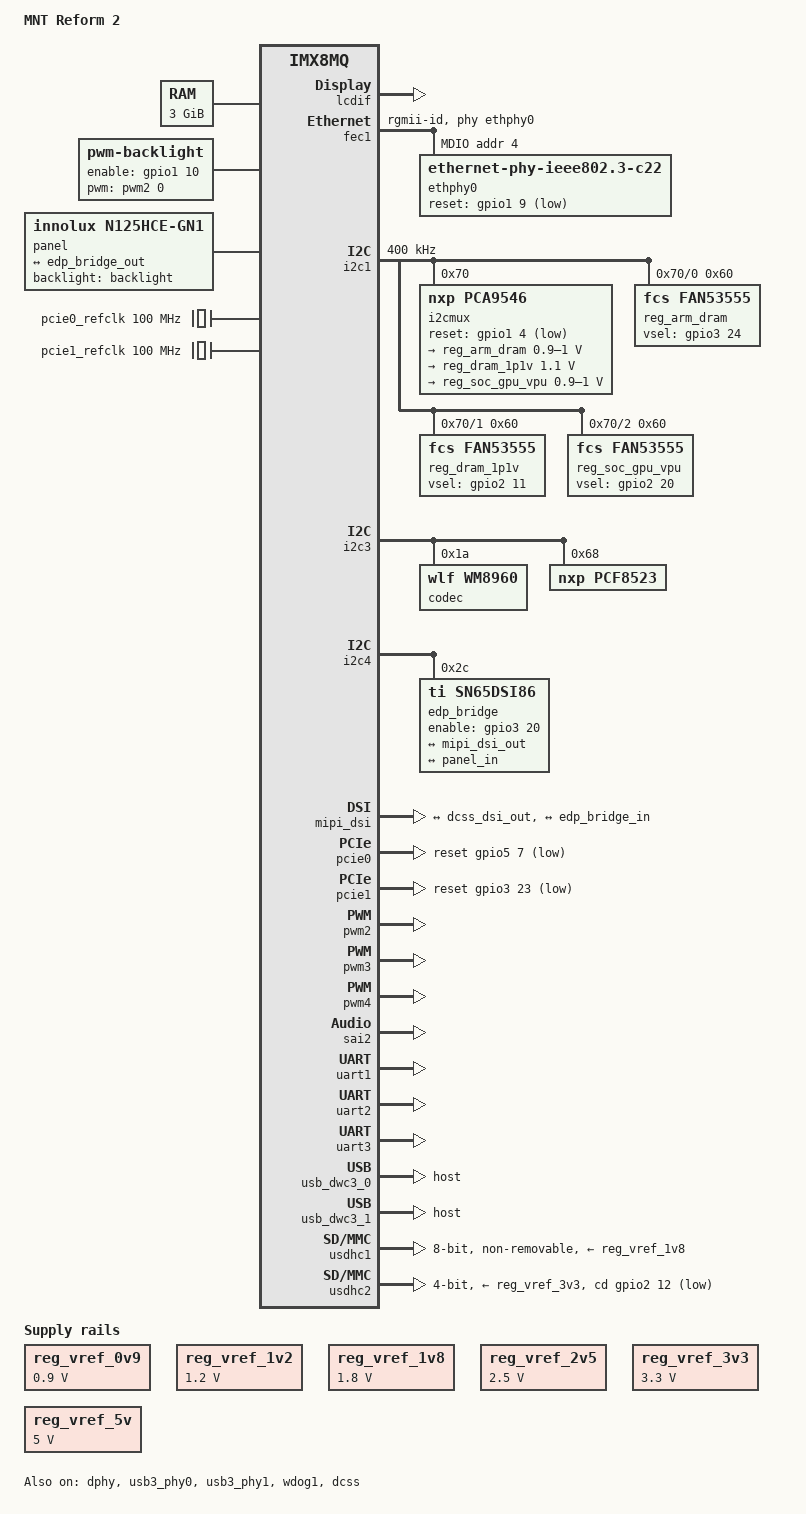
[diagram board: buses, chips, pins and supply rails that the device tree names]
// SPDX-License-Identifier: (GPL-2.0+ OR MIT)
/*
* Copyright 2018 Boundary Devices
* Copyright 2019-2021 MNT Research GmbH
*/

/dts-v1/;

#include "dt-bindings/input/input.h"
#include "dt-bindings/pwm/pwm.h"
#include "dt-bindings/usb/pd.h"
#include "dt-bindings/gpio/gpio.h"
#include "imx8mq.dtsi"

/ {
	model = "MNT Reform 2";
	compatible = "boundary,imx8mq-nitrogen8m_som", "fsl,imx8mq";

	aliases {
		fb_hdmi = &hdmi;
		lcdif = &lcdif;
		mipi_dsi = &mipi_dsi;
	};

	chosen {
		stdout-path = "serial0:115200n8";
	};

	// 4GB of RAM
	memory@40000000 {
		device_type = "memory";
		reg = <0x00000000 0x40000000 0 0xc0000000>; // TODO: confirm what this means
	};

	reg_vref_0v9: regulator-vref-0v9 {
		compatible = "regulator-fixed";
		regulator-name = "vref-0v9";
		regulator-min-microvolt = <900000>;
		regulator-max-microvolt = <900000>;
		regulator-always-on;
	};

	reg_vref_1v2: regulator-vref-1v2 {
		compatible = "regulator-fixed";
		regulator-name = "vref-1v2";
		regulator-min-microvolt = <1200000>;
		regulator-max-microvolt = <1200000>;
		regulator-always-on;
	};

	reg_vref_1v8: regulator-vref-1v8 {
		compatible = "regulator-fixed";
		regulator-name = "vref-1v8";
		regulator-min-microvolt = <1800000>;
		regulator-max-microvolt = <1800000>;
		regulator-always-on;
	};

	reg_vref_2v5: regulator-vref-2v5 {
		compatible = "regulator-fixed";
		regulator-name = "vref-2v5";
		regulator-min-microvolt = <2500000>;
		regulator-max-microvolt = <2500000>;
		regulator-always-on;
	};

	reg_vref_3v3: regulator-vref-3v3 {
		compatible = "regulator-fixed";
		regulator-name = "vref-3v3";
		regulator-min-microvolt = <3300000>;
		regulator-max-microvolt = <3300000>;
		regulator-always-on;
	};

	reg_vref_5v: regulator-vref-5v {
		compatible = "regulator-fixed";
		regulator-name = "vref-5v";
		regulator-min-microvolt = <5000000>;
		regulator-max-microvolt = <5000000>;
		regulator-always-on;
	};

	backlight: backlight {
		compatible = "pwm-backlight";
		pwms = <&pwm2 0 10000>;
		enable-gpios = <&gpio1 10 GPIO_ACTIVE_HIGH>;
		brightness-levels = <0 32 64 128 160 200 255>;
		default-brightness-level = <6>;
	};

	panel {
		compatible = "innolux,n125hce-gn1", "simple-panel";
		power = <&reg_vref_3v3>;
		backlight = <&backlight>;
		no-hpd;

		port@0 {
			panel_in: endpoint {
				remote-endpoint = <&edp_bridge_out>;
			};
		};
	};

	sound {
		compatible = "simple-audio-card";
		simple-audio-card,name = "wm8960-audio";
		simple-audio-card,format = "i2s";
		simple-audio-card,frame-master = <&dai_cpu_master>;
		simple-audio-card,bitclock-master = <&dai_cpu_master>;
		simple-audio-card,convert-rate = <48000>;

		simple-audio-card,widgets =
		"Microphone", "Mic Jack",
		"Line", "Line In",
		"Line", "Line Out",
		"Speaker", "Speaker",
		"Headphone", "Headphone Jack";

		simple-audio-card,routing =
		"Headphone Jack", "HP_L",
		"Headphone Jack", "HP_R",
		"Speaker", "SPK_LP",
		"Speaker", "SPK_LN",
		"Speaker", "SPK_RP",
		"Speaker", "SPK_RN",
		"Mic Jack", "MICB",
		"LINPUT1", "Mic Jack",
		"LINPUT2", "Line In",
		"RINPUT2", "Line In";

		dai_cpu_master: simple-audio-card,cpu {
			sound-dai = <&sai2>;
		};

		dailink0: simple-audio-card,codec {
			sound-dai = <&codec>;
		};
	};

	pcie0_refclk: pcie0-refclk {
		compatible = "fixed-clock";
		#clock-cells = <0>;
		clock-frequency = <100000000>;
	};

	pcie1_refclk: pcie1-refclk {
		compatible = "fixed-clock";
		#clock-cells = <0>;
		clock-frequency = <100000000>;
	};
};

&A53_0 {
	cpu-supply = <&reg_arm_dram>;
};

&A53_1 {
	cpu-supply = <&reg_arm_dram>;
};

&A53_2 {
	cpu-supply = <&reg_arm_dram>;
};

&A53_3 {
	cpu-supply = <&reg_arm_dram>;
};

/ {
	soc@0 {
		bus@32c00000 {
			dcss: display-controller@32e00000 {
				status = "okay";

				compatible = "nxp,imx8mq-dcss";
				reg = <0x32e00000 0x2d000>, <0x32e2f000 0x1000>;
				interrupts = <6>, <8>, <9>;
				interrupt-names = "ctxld", "ctxld_kick", "vblank";
				interrupt-parent = <&irqsteer>;
				clocks = <&clk IMX8MQ_CLK_DISP_APB_ROOT>,
					<&clk IMX8MQ_CLK_DISP_AXI_ROOT>,
					<&clk IMX8MQ_CLK_DISP_RTRM_ROOT>,
					<&clk IMX8MQ_CLK_DC_PIXEL>,
					<&clk IMX8MQ_CLK_DISP_DTRC>,
					<&clk IMX8MQ_VIDEO2_PLL1_REF_SEL>,
					<&clk IMX8MQ_CLK_PHY_27MHZ>;
				clock-names = "apb", "axi", "rtrm", "pix", "dtrc", "pll_src", "pll_phy_ref";
				assigned-clocks = <&clk IMX8MQ_CLK_DISP_AXI>,
					<&clk IMX8MQ_CLK_DISP_RTRM>,
					<&clk IMX8MQ_VIDEO2_PLL1_REF_SEL>,
					<&clk IMX8MQ_VIDEO_PLL1_REF_SEL>,
					<&clk IMX8MQ_CLK_DC_PIXEL>;
				assigned-clock-parents = <&clk IMX8MQ_SYS1_PLL_800M>,
					<&clk IMX8MQ_SYS1_PLL_800M>,
					<&clk IMX8MQ_CLK_27M>,
					<&clk IMX8MQ_CLK_25M>,
					<&clk IMX8MQ_VIDEO_PLL1_OUT>;
				assigned-clock-rates = <800000000>,
					<400000000>,
					<27000000>,
					<25000000>,
					<594000000>;

				// internal display (MIPI-DSI/eDP)
				ports {
					#address-cells = <1>;
					#size-cells = <0>;

					port@0 {
						reg = <0>;
						#address-cells = <1>;
						#size-cells = <0>;
						dcss_dsi_out: endpoint@0 {
							reg = <0>;
							remote-endpoint = <&mipi_dsi_in>;
						};
					};
				};
			};
		};
	};
};

// LCDIF is not used, but has to be active or DCSS won't work
&lcdif {
	status = "okay";
	/delete-node/ port@0;
};

&dphy {
	status = "okay";
};

&fec1 {
	pinctrl-names = "default";
	pinctrl-0 = <&pinctrl_fec1>;
	phy-mode = "rgmii-id";
	phy-handle = <&ethphy0>;
	fsl,magic-packet;
	status = "okay";

	mdio {
		#address-cells = <1>;
		#size-cells = <0>;

		ethphy0: ethernet-phy@4 {
			compatible = "ethernet-phy-ieee802.3-c22";
			reg = <4>;
			interrupts = <&gpio1 11 IRQ_TYPE_LEVEL_LOW>;
			reset-gpios = <&gpio1 9 GPIO_ACTIVE_LOW>; // TODO: useful?
		};
	};
};

&i2c1 {
	clock-frequency = <400000>;
	pinctrl-names = "default";
	pinctrl-0 = <&pinctrl_i2c1>;
	status = "okay";

	// I2C Mux on Nitrogen8M_SOM
	i2cmux@70 {
		compatible = "nxp,pca9546";
		pinctrl-names = "default";
		pinctrl-0 = <&pinctrl_i2c1_pca9546>;
		reg = <0x70>;
		reset-gpios = <&gpio1 4 GPIO_ACTIVE_LOW>;
		#address-cells = <1>;
		#size-cells = <0>;

		i2c1a: i2c1@0 {
			reg = <0>;
			#address-cells = <1>;
			#size-cells = <0>;

			// Regulator on Nitrogen8M_SOM
			reg_arm_dram: fan53555@60 {
				compatible = "fcs,fan53555";
				pinctrl-names = "default";
				pinctrl-0 = <&pinctrl_reg_arm_dram>;
				reg = <0x60>;
				regulator-min-microvolt =	 <900000>;
				regulator-max-microvolt = <1000000>;
				regulator-ramp-delay = <8000>;
				regulator-always-on;
				vsel-gpios = <&gpio3 24 GPIO_ACTIVE_HIGH>;
			};
		};

		i2c1b: i2c1@1 {
			reg = <1>;
			#address-cells = <1>;
			#size-cells = <0>;

			// Regulator on Nitrogen8M_SOM
			reg_dram_1p1v: fan53555@60 {
				compatible = "fcs,fan53555";
				pinctrl-names = "default";
				pinctrl-0 = <&pinctrl_reg_dram_1p1v>;
				reg = <0x60>;
				regulator-min-microvolt = <1100000>;
				regulator-max-microvolt = <1100000>;
				regulator-ramp-delay = <8000>;
				regulator-always-on;
				vsel-gpios = <&gpio2 11 GPIO_ACTIVE_HIGH>;
			};
		};

		i2c1c: i2c1@2 {
			reg = <2>;
			#address-cells = <1>;
			#size-cells = <0>;

			// Regulator on Nitrogen8M_SOM
			reg_soc_gpu_vpu: fan53555@60 {
				compatible = "fcs,fan53555";
				pinctrl-names = "default";
				pinctrl-0 = <&pinctrl_reg_soc_gpu_vpu>;
				reg = <0x60>;
				regulator-min-microvolt =	 <900000>;
				regulator-max-microvolt = <1000000>;
				regulator-ramp-delay = <8000>;
				regulator-always-on;
				vsel-gpios = <&gpio2 20 GPIO_ACTIVE_HIGH>;
			};
		};

		// No peripheral connected, available on DSI connector
		i2c1d: i2c1@3 {
			reg = <3>;
			#address-cells = <1>;
			#size-cells = <0>;
		};
	};
};

// No peripheral connected, available on CSI connector
&i2c2 {
	status = "disabled";
};

&i2c3 {
	pinctrl-names = "default";
	pinctrl-0 = <&pinctrl_i2c3>;
	status = "okay";

	// Audio chip on motherboard
	codec: wm8960@1a {
		compatible = "wlf,wm8960";
		reg = <0x1a>;
		clocks = <&clk IMX8MQ_CLK_SAI2>;
		clock-names = "mclk";
		#sound-dai-cells = <0>;
	};

	// Realtime clock chip on motherboard
	pcf8523: pcf8523@68 {
		compatible = "nxp,pcf8523";
		reg = <0x68>;
	};
};

&i2c4 {
	pinctrl-names = "default";
	pinctrl-0 = <&pinctrl_i2c4>;
	status = "okay";

	// DSI to eDP converter on motherboard
	edp_bridge: sn65dsi86@2c {
		compatible = "ti,sn65dsi86";
		reg = <0x2c>;
		enable-gpios = <&gpio3 20 GPIO_ACTIVE_HIGH>;

		ports {
			#address-cells = <1>;
			#size-cells = <0>;

			port@0 {
				reg = <0>;

				edp_bridge_in: endpoint {
					remote-endpoint = <&mipi_dsi_out>;
				};
			};

			port@1 {
				reg = <1>;

				edp_bridge_out: endpoint {
					remote-endpoint = <&panel_in>;
				};
			};
		};
	};
};

// TODO: add external pin numbers
&iomuxc {
	pinctrl-names = "default";
	pinctrl-0 = <&pinctrl_hog>;

	pinctrl_hog: hoggrp {
		fsl,pins = <
		MX8MQ_IOMUXC_SAI5_RXC_GPIO3_IO20		0x19 // WL_EN on Nitrogen8M_SOM, pin 38, goes to /EN input of SN65DSI86
		MX8MQ_IOMUXC_GPIO1_IO14_GPIO1_IO14		0x56 // TODO: check pullup of usb hub reset on the board (0x40)
		>;
	};

	pinctrl_fec1: fec1grp {
		fsl,pins = <
		MX8MQ_IOMUXC_ENET_MDC_ENET1_MDC			0x3
		MX8MQ_IOMUXC_ENET_MDIO_ENET1_MDIO		0x23
		MX8MQ_IOMUXC_ENET_TX_CTL_ENET1_RGMII_TX_CTL	0x1f
		MX8MQ_IOMUXC_ENET_TXC_ENET1_RGMII_TXC		0x1f
		MX8MQ_IOMUXC_ENET_TD0_ENET1_RGMII_TD0		0x1f
		MX8MQ_IOMUXC_ENET_TD1_ENET1_RGMII_TD1		0x1f
		MX8MQ_IOMUXC_ENET_TD2_ENET1_RGMII_TD2		0x1f
		MX8MQ_IOMUXC_ENET_TD3_ENET1_RGMII_TD3		0x1f
		MX8MQ_IOMUXC_ENET_RX_CTL_ENET1_RGMII_RX_CTL	0x91
		MX8MQ_IOMUXC_ENET_RXC_ENET1_RGMII_RXC		0x91
		MX8MQ_IOMUXC_ENET_RD0_ENET1_RGMII_RD0		0x91
		MX8MQ_IOMUXC_ENET_RD1_ENET1_RGMII_RD1		0x91
		MX8MQ_IOMUXC_ENET_RD2_ENET1_RGMII_RD2		0x91
		MX8MQ_IOMUXC_ENET_RD3_ENET1_RGMII_RD3		0x91
		MX8MQ_IOMUXC_GPIO1_IO09_GPIO1_IO9		0x19
		MX8MQ_IOMUXC_GPIO1_IO11_GPIO1_IO11		0x59
		>;
	};

	pinctrl_i2c1: i2c1grp {
		fsl,pins = <
		MX8MQ_IOMUXC_I2C1_SCL_I2C1_SCL			0x4000007f
		MX8MQ_IOMUXC_I2C1_SDA_I2C1_SDA			0x4000007f
		>;
	};

	pinctrl_i2c1_pca9546: i2c1-pca9546grp {
		fsl,pins = <
		MX8MQ_IOMUXC_GPIO1_IO04_GPIO1_IO4		0x46
		>;
	};

	pinctrl_i2c2: i2c2grp {
		fsl,pins = <
		MX8MQ_IOMUXC_I2C2_SCL_I2C2_SCL			0x4000007f
		MX8MQ_IOMUXC_I2C2_SDA_I2C2_SDA			0x4000007f
		>;
	};

	pinctrl_i2c3: i2c3grp {
		fsl,pins = <
		MX8MQ_IOMUXC_I2C3_SCL_I2C3_SCL			0x4000007f
		MX8MQ_IOMUXC_I2C3_SDA_I2C3_SDA			0x4000007f
		>;
	};

	pinctrl_i2c4: i2c4grp {
		fsl,pins = <
		MX8MQ_IOMUXC_I2C4_SCL_I2C4_SCL			0x4000007f
		MX8MQ_IOMUXC_I2C4_SDA_I2C4_SDA			0x4000007f
		>;
	};

	pinctrl_pcie0: pcie0grp {
		fsl,pins = <
		MX8MQ_IOMUXC_ECSPI1_MOSI_GPIO5_IO7		0x16
		>;
	};

	pinctrl_pcie1: pcie1grp {
		fsl,pins = <
		MX8MQ_IOMUXC_SAI5_RXD2_GPIO3_IO23		0x16
		>;
	};

	pinctrl_pwm2: pwm2grp {
		fsl,pins = <
		MX8MQ_IOMUXC_SPDIF_RX_PWM2_OUT			0x16
		>;
	};

	pinctrl_pwm3: pwm3grp {
		fsl,pins = <
		MX8MQ_IOMUXC_SPDIF_TX_PWM3_OUT			0x16
		>;
	};

	// Backlight
	pinctrl_pwm4: pwm4grp {
		fsl,pins = <
		MX8MQ_IOMUXC_SAI3_MCLK_PWM4_OUT			0x16
		>;
	};

	pinctrl_reg_arm_dram: reg-arm-dram {
		fsl,pins = <
		MX8MQ_IOMUXC_SAI5_RXD3_GPIO3_IO24		0x16
		>;
	};

	pinctrl_reg_dram_1p1v: reg-dram-1p1v {
		fsl,pins = <
		MX8MQ_IOMUXC_SD1_STROBE_GPIO2_IO11		0x16
		>;
	};

	pinctrl_reg_soc_gpu_vpu: reg-soc-gpu-vpu {
		fsl,pins = <
		MX8MQ_IOMUXC_SD2_WP_GPIO2_IO20			0x16
		>;
	};

	pinctrl_sai2: sai2grp {
		fsl,pins = <
		MX8MQ_IOMUXC_SAI2_RXD0_SAI2_RX_DATA0		0xd6	/* Pin 166 */
		MX8MQ_IOMUXC_SAI2_RXFS_SAI2_RX_SYNC		0xd6	/* Pin 168 */
		MX8MQ_IOMUXC_SAI2_TXC_SAI2_TX_BCLK		0xd6	/* Pin 170 */
		MX8MQ_IOMUXC_SAI2_TXFS_SAI2_TX_SYNC		0xd6	/* Pin 172 */
		MX8MQ_IOMUXC_SAI2_RXC_SAI2_RX_BCLK		0xd6	/* Pin 174 */
		MX8MQ_IOMUXC_SAI2_MCLK_SAI2_MCLK		0xd6	/* Pin 176 */
		MX8MQ_IOMUXC_SAI2_TXD0_SAI2_TX_DATA0		0xd6	/* Pin 168 */
		>;
	};

	pinctrl_uart1: uart1grp {
		fsl,pins = <
		MX8MQ_IOMUXC_UART1_RXD_UART1_DCE_RX		0x45
		MX8MQ_IOMUXC_UART1_TXD_UART1_DCE_TX		0x45
		>;
	};

	pinctrl_uart2: uart2grp {
		fsl,pins = <
		MX8MQ_IOMUXC_UART2_RXD_UART2_DCE_RX		0x45
		MX8MQ_IOMUXC_UART2_TXD_UART2_DCE_TX		0x45
		>;
	};

	pinctrl_uart3: uart3grp {
		fsl,pins = <
		MX8MQ_IOMUXC_UART3_RXD_UART3_DCE_RX		0x45
		MX8MQ_IOMUXC_UART3_TXD_UART3_DCE_TX		0x45
		>;
	};

	pinctrl_usdhc1: usdhc1grp {
		fsl,pins = <
		MX8MQ_IOMUXC_SD1_CLK_USDHC1_CLK			0x83
		MX8MQ_IOMUXC_SD1_CMD_USDHC1_CMD			0xc3
		MX8MQ_IOMUXC_SD1_DATA0_USDHC1_DATA0		0xc3
		MX8MQ_IOMUXC_SD1_DATA1_USDHC1_DATA1		0xc3
		MX8MQ_IOMUXC_SD1_DATA2_USDHC1_DATA2		0xc3
		MX8MQ_IOMUXC_SD1_DATA3_USDHC1_DATA3		0xc3
		MX8MQ_IOMUXC_SD1_DATA4_USDHC1_DATA4		0xc3
		MX8MQ_IOMUXC_SD1_DATA5_USDHC1_DATA5		0xc3
		MX8MQ_IOMUXC_SD1_DATA6_USDHC1_DATA6		0xc3
		MX8MQ_IOMUXC_SD1_DATA7_USDHC1_DATA7		0xc3
		MX8MQ_IOMUXC_SD1_RESET_B_GPIO2_IO10		0x41
		>;
	};

	pinctrl_usdhc1_100mhz: usdhc1-100mhzgrp {
		fsl,pins = <
		MX8MQ_IOMUXC_SD1_CLK_USDHC1_CLK			0x8d
		MX8MQ_IOMUXC_SD1_CMD_USDHC1_CMD			0xcd
		MX8MQ_IOMUXC_SD1_DATA0_USDHC1_DATA0		0xcd
		MX8MQ_IOMUXC_SD1_DATA1_USDHC1_DATA1		0xcd
		MX8MQ_IOMUXC_SD1_DATA2_USDHC1_DATA2		0xcd
		MX8MQ_IOMUXC_SD1_DATA3_USDHC1_DATA3		0xcd
		MX8MQ_IOMUXC_SD1_DATA4_USDHC1_DATA4		0xcd
		MX8MQ_IOMUXC_SD1_DATA5_USDHC1_DATA5		0xcd
		MX8MQ_IOMUXC_SD1_DATA6_USDHC1_DATA6		0xcd
		MX8MQ_IOMUXC_SD1_DATA7_USDHC1_DATA7		0xcd
		>;
	};

	pinctrl_usdhc1_200mhz: usdhc1-200mhzgrp {
		fsl,pins = <
		MX8MQ_IOMUXC_SD1_CLK_USDHC1_CLK			0x9f
		MX8MQ_IOMUXC_SD1_CMD_USDHC1_CMD			0xdf
		MX8MQ_IOMUXC_SD1_DATA0_USDHC1_DATA0		0xdf
		MX8MQ_IOMUXC_SD1_DATA1_USDHC1_DATA1		0xdf
		MX8MQ_IOMUXC_SD1_DATA2_USDHC1_DATA2		0xdf
		MX8MQ_IOMUXC_SD1_DATA3_USDHC1_DATA3		0xdf
		MX8MQ_IOMUXC_SD1_DATA4_USDHC1_DATA4		0xdf
		MX8MQ_IOMUXC_SD1_DATA5_USDHC1_DATA5		0xdf
		MX8MQ_IOMUXC_SD1_DATA6_USDHC1_DATA6		0xdf
		MX8MQ_IOMUXC_SD1_DATA7_USDHC1_DATA7		0xdf
		>;
	};

	pinctrl_usdhc2: usdhc2grp {
		fsl,pins = <
		MX8MQ_IOMUXC_SD2_CLK_USDHC2_CLK			0x03
		MX8MQ_IOMUXC_SD2_CMD_USDHC2_CMD			0xc3
		MX8MQ_IOMUXC_SD2_DATA0_USDHC2_DATA0		0xc3
		MX8MQ_IOMUXC_SD2_DATA1_USDHC2_DATA1		0xc3
		MX8MQ_IOMUXC_SD2_DATA2_USDHC2_DATA2		0xc3
		MX8MQ_IOMUXC_SD2_DATA3_USDHC2_DATA3		0xc
		>;
	};

	pinctrl_usdhc2_100mhz: usdhc2-100mhzgrp {
		fsl,pins = <
		MX8MQ_IOMUXC_SD2_CLK_USDHC2_CLK			0x0d
		MX8MQ_IOMUXC_SD2_CMD_USDHC2_CMD			0xcd
		MX8MQ_IOMUXC_SD2_DATA0_USDHC2_DATA0		0xcd
		MX8MQ_IOMUXC_SD2_DATA1_USDHC2_DATA1		0xcd
		MX8MQ_IOMUXC_SD2_DATA2_USDHC2_DATA2		0xcd
		MX8MQ_IOMUXC_SD2_DATA3_USDHC2_DATA3		0xcd
		>;
	};

	pinctrl_usdhc2_200mhz: usdhc2-200mhzgrp {
		fsl,pins = <
		MX8MQ_IOMUXC_SD2_CLK_USDHC2_CLK			0x1e
		MX8MQ_IOMUXC_SD2_CMD_USDHC2_CMD			0xce
		MX8MQ_IOMUXC_SD2_DATA0_USDHC2_DATA0		0xce
		MX8MQ_IOMUXC_SD2_DATA1_USDHC2_DATA1		0xce
		MX8MQ_IOMUXC_SD2_DATA2_USDHC2_DATA2		0xce
		MX8MQ_IOMUXC_SD2_DATA3_USDHC2_DATA3		0xce
		>;
	};

	pinctrl_wdog: wdoggrp {
		fsl,pins = <
		MX8MQ_IOMUXC_GPIO1_IO02_WDOG1_WDOG_B		0xc6
		>;
	};
};

&mipi_dsi {
	status = "okay";

	ports {
		#address-cells = <1>;
		#size-cells = <0>;

		port@0 {
			#address-cells = <1>;
			#size-cells = <0>;
			reg = <0>;

			// We don't want input from LCDIF
			/delete-node/ endpoint@0;

			mipi_dsi_in: endpoint@1 {
				reg = <1>;
				remote-endpoint = <&dcss_dsi_out>;
			};
		};
		port@1 {
			reg = <1>;
			mipi_dsi_out: endpoint {
				remote-endpoint = <&edp_bridge_in>;
			};
		};
	};
};

&pcie0 {
	pinctrl-names = "default";
	pinctrl-0 = <&pinctrl_pcie0>;
	reset-gpio = <&gpio5 7 GPIO_ACTIVE_LOW>;
	internal-refclk;

	clocks = <&clk IMX8MQ_CLK_PCIE1_ROOT>,
		<&clk IMX8MQ_CLK_PCIE1_AUX>,
		<&clk IMX8MQ_CLK_PCIE1_PHY>,
		<&pcie0_refclk>;

	clock-names = "pcie", "pcie_aux", "pcie_phy", "pcie_bus";

	assigned-clocks = <&clk IMX8MQ_CLK_PCIE1_CTRL>,
		<&clk IMX8MQ_CLK_PCIE1_PHY>;
	assigned-clock-parents = <&clk IMX8MQ_SYS2_PLL_250M>,
		<&clk IMX8MQ_SYS2_PLL_100M>;

	status = "okay";
};

&pcie1 {
	pinctrl-names = "default";
	pinctrl-0 = <&pinctrl_pcie1>;
	reset-gpio = <&gpio3 23 GPIO_ACTIVE_LOW>;

	clocks = <&clk IMX8MQ_CLK_PCIE2_ROOT>,
		<&clk IMX8MQ_CLK_PCIE2_AUX>,
		<&clk IMX8MQ_CLK_PCIE2_PHY>,
		<&pcie1_refclk>;
	clock-names = "pcie", "pcie_aux", "pcie_phy", "pcie_bus";
	status = "okay";
};

&pwm2 {
	pinctrl-names = "default";
	pinctrl-0 = <&pinctrl_pwm2>;
	status = "okay";
};

&pwm3 {
	pinctrl-names = "default";
	pinctrl-0 = <&pinctrl_pwm3>;
	status = "okay";
};

// Backlight control
&pwm4 {
	pinctrl-names = "default";
	pinctrl-0 = <&pinctrl_pwm4>;
	status = "okay";
};

&sai2 {
	pinctrl-names = "default";
	pinctrl-0 = <&pinctrl_sai2>;
	assigned-clocks = <&clk IMX8MQ_CLK_SAI2>;
	assigned-clock-parents = <&clk IMX8MQ_AUDIO_PLL1_OUT>;
	assigned-clock-rates = <12288000>;
	fsl,sai-asynchronous;
	status = "okay";
};

// Don't use i.MX8M internal RTC because we have a dedicated one
&snvs_rtc {
	status = "disabled";
};

// Console
&uart1 {
	pinctrl-names = "default";
	pinctrl-0 = <&pinctrl_uart1>;
	status = "okay";
};

// Auxiliary serial port on motherboard
&uart2 {
	pinctrl-names = "default";
	pinctrl-0 = <&pinctrl_uart2>;
	status = "okay";
};

// connected to LPC11U24 chip on the motherboard
&uart3 {
	pinctrl-names = "default";
	pinctrl-0 = <&pinctrl_uart3>;
	status = "okay";
};

&usb_dwc3_0 {
	status = "okay";
	dr_mode = "host";
};

&usb_dwc3_1 {
	status = "okay";
	dr_mode = "host";
};

&usb3_phy0 {
	vbus-supply = <&reg_vref_5v>;
	status = "okay";
};

&usb3_phy1 {
	vbus-supply = <&reg_vref_5v>;
	status = "okay";
};

// eMMC on Nitrogen8M_SOM
// TODO: HS currently doesn't work
&usdhc1 {
	bus-width = <8>;
	fsl,strobe-dll-delay-target = <5>;
	fsl,tuning-start-tap = <63>;
	fsl,tuning-step = <2>;
	non-removable;
	pinctrl-names = "default";
	pinctrl-0 = <&pinctrl_usdhc1>;
	vmmc-supply = <&reg_vref_1v8>;
	vqmmc-1-8-v;
	status = "okay";
};

// SD Card on motherboard
// TODO: check keep-power-in-suspend, cap-sdio-irq
&usdhc2 {
	assigned-clocks = <&clk IMX8MQ_CLK_USDHC2>;
	assigned-clock-rates = <200000000>;
	cd-gpios = <&gpio2 12 GPIO_ACTIVE_LOW>;
	bus-width = <4>;
	no-1-8-v; // We don't support 1.8V signaling
	pinctrl-names = "default", "state_100mhz", "state_200mhz";
	pinctrl-0 = <&pinctrl_usdhc2>;
	pinctrl-1 = <&pinctrl_usdhc2_100mhz>;
	pinctrl-2 = <&pinctrl_usdhc2_200mhz>;
	vmmc-supply = <&reg_vref_3v3>;
	status = "okay";
};

&wdog1 {
	pinctrl-names = "default";
	pinctrl-0 = <&pinctrl_wdog>;
	fsl,ext-reset-output; // TODO check source for what this means
	status = "okay";
};
